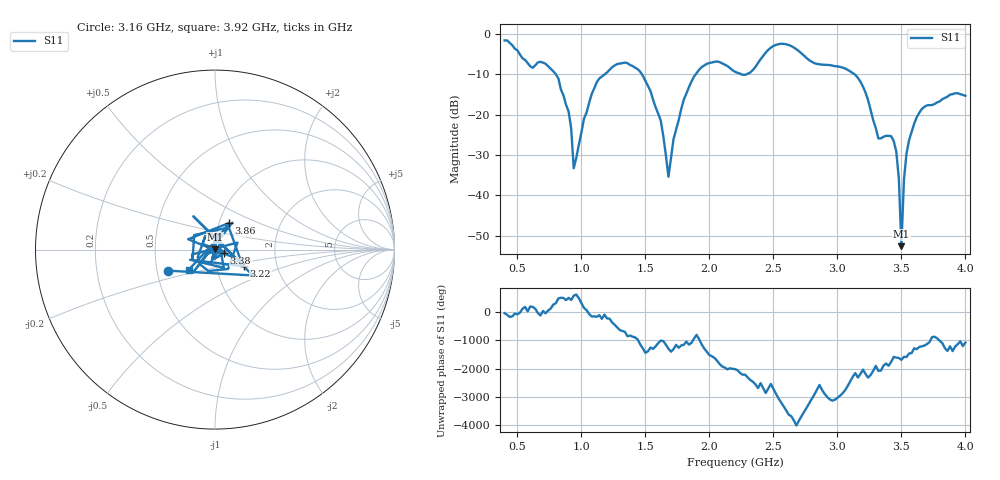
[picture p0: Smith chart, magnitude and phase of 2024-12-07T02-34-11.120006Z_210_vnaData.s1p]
!Created with skrf (http://scikit-rf.org).
# Hz S RI R 50.0
!freq ReS11 ImS11
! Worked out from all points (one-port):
!   181 points, 400 MHz to 4 GHz, reference 50 ohm
!   lowest |S11| = -52.6 dB at 3.5 GHz (marker M1), VSWR 1.00, Z = 49.9 + j0.22 ohm
!   |S11| at or under -10 dB: 799.9 MHz to 1.183 GHz (383.3 MHz wide, 38.7 % of centre); 1.472 GHz to 1.894 GHz (421.7 MHz wide, 25.1 % of centre); 3.133 GHz to end of sweep (the widest 3 of 4)
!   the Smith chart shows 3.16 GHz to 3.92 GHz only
!   S11 on the Smith chart (normalised r, x): 3.16 GHz: 0.57, -0.15; 3.22 GHz: 1.36, -0.26; 3.38 GHz: 1.11, -0.05; 3.86 GHz: 1.11, +0.34; 3.92 GHz: 0.73, -0.17
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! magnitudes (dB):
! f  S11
! 400 MHz  -1.6
! 720 MHz  -7.4
! 860 MHz  -15.3
! 920 MHz  -23.4
! 940 MHz  -33.3
! 1.12 GHz  -12.0
! 1.3 GHz  -7.4
! 1.54 GHz  -14.2
! 1.62 GHz  -21.5
! 1.68 GHz  -35.4
! 1.76 GHz  -21.4
! 1.94 GHz  -8.2
! 2.2 GHz  -9.4
! 2.66 GHz  -3.4
! 3.1 GHz  -9.3
! 3.16 GHz  -10.9
! 3.22 GHz  -14.6
! 3.32 GHz  -25.9
! 3.38 GHz  -25.3
! 3.46 GHz  -29.2
! 3.48 GHz  -35.8
! 3.5 GHz  -52.6
! 3.52 GHz  -36.1
! 3.56 GHz  -26.3
! 3.66 GHz  -18.6
! 3.86 GHz  -15.6
! 3.92 GHz  -14.7
! 4 GHz  -15.3
